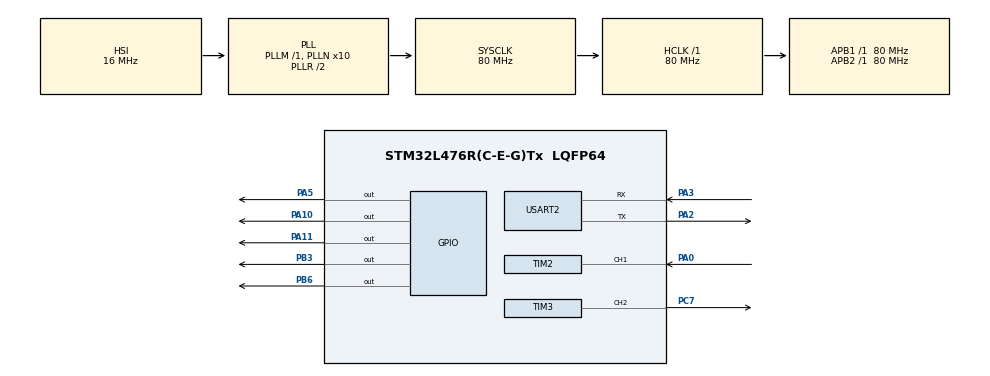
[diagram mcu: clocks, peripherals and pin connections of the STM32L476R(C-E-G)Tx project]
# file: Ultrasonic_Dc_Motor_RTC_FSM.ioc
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Mcu.Family=STM32L4
Mcu.Name=STM32L476R(C-E-G)Tx
Mcu.Package=LQFP64
NVIC.PriorityGroup=NVIC_PRIORITYGROUP_4
NVIC.RTC_WKUP_IRQn=true\:0\:0\:false\:false\:true\:true\:true\:true
NVIC.TIM2_IRQn=true\:0\:0\:false\:false\:true\:true\:true\:true
PA0.GPIO_PuPd=GPIO_PULLUP
PA0.Signal=S_TIM2_CH1
PA10.Signal=GPIO_Output
PA11.Signal=GPIO_Output
PA2.Mode=Asynchronous
PA2.Signal=USART2_TX
PA3.Mode=Asynchronous
PA3.Signal=USART2_RX
PA5.Signal=GPIO_Output
PB3\ (JTDO-TRACESWO).Signal=GPIO_Output
PB6.Signal=GPIO_Output
PC7.Signal=S_TIM3_CH2
PH0-OSC_IN\ (PH0).Mode=HSE-External-Oscillator
PH0-OSC_IN\ (PH0).Signal=RCC_OSC_IN
PH1-OSC_OUT\ (PH1).Mode=HSE-External-Oscillator
PH1-OSC_OUT\ (PH1).Signal=RCC_OSC_OUT
ProjectManager.HeapSize=0x200
ProjectManager.StackSize=0x400
ProjectManager.TargetToolchain=STM32CubeIDE
RCC.ADCFreq_Value=64000000
RCC.AHBFreq_Value=80000000
RCC.APB1Freq_Value=80000000
RCC.APB1TimFreq_Value=80000000
RCC.APB2Freq_Value=80000000
RCC.APB2TimFreq_Value=80000000
RCC.CortexFreq_Value=80000000
RCC.HCLKFreq_Value=80000000
RCC.HSE_VALUE=8000000
RCC.HSI_VALUE=16000000
RCC.MSI_VALUE=4000000
RCC.PLLN=10
RCC.PLLSourceVirtual=RCC_PLLSOURCE_HSI
RCC.PREFETCH_ENABLE=1
RCC.SYSCLKFreq_VALUE=80000000
RCC.SYSCLKSource=RCC_SYSCLKSOURCE_PLLCLK
RCC.USBFreq_Value=64000000
RCC.VCOOutputFreq_Value=160000000
SH.S_TIM2_CH1.0=TIM2_CH1,Input_Capture1_from_TI1
SH.S_TIM3_CH2.0=TIM3_CH2,PWM Generation2 CH2
TIM2.Channel-Input_Capture1_from_TI1=TIM_CHANNEL_1
TIM3.Channel-PWM\ Generation2\ CH2=TIM_CHANNEL_2
USART2.VirtualMode-Asynchronous=VM_ASYNC
VP_RTC_VS_RTC_Activate.Mode=RTC_Enabled
VP_RTC_VS_RTC_WakeUp_intern.Mode=WakeUp
VP_TIM2_VS_ClockSourceINT.Mode=Internal
VP_TIM3_VS_ClockSourceINT.Mode=Internal
VP_TIM6_VS_ClockSourceINT.Mode=Enable_Timer
VP_TIM7_VS_ClockSourceINT.Mode=Enable_Timer
board=NUCLEO-L476RG

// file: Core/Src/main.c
/* USER CODE BEGIN Header */
/**
  ******************************************************************************
  * @file           : main.c
  * @brief          : Main program body
  ******************************************************************************
  * @attention
  *
  * Copyright (c) 2026 STMicroelectronics.
  * All rights reserved.
  *
  * This software is licensed under terms that can be found in the LICENSE file
  * in the root directory of this software component.
  * If no LICENSE file comes with this software, it is provided AS-IS.
  *
  ******************************************************************************
  */
/* USER CODE END Header */
#include "main.h"

/* USER CODE BEGIN Includes */

#include <stdio.h>

/* USER CODE END Includes */

RTC_HandleTypeDef hrtc;

TIM_HandleTypeDef htim2;
TIM_HandleTypeDef htim3;
TIM_HandleTypeDef htim6;
TIM_HandleTypeDef htim7;

UART_HandleTypeDef huart2;

/* USER CODE BEGIN PV */

float distance;

volatile uint8_t firstEdge = 0;

volatile uint8_t measurementReady = 0;

volatile uint8_t distanceReady = 0;

uint32_t IC_Value1;

uint32_t IC_Value2;

uint32_t time;

//static uint32_t timing;

volatile uint8_t rtc_flag = 0;

typedef enum{
	SLEEP,
	MEASURE,
	MOVE,
	STOP
}UC_States;

typedef enum{
	IDLE,
	TRIGGER_LOW,
	TRIGGER_HIGH,
	WAIT_ECHO,
	MEASUREMENT
}US_States;

UC_States current_uc_state = SLEEP;

US_States current_us_state = IDLE;

uint8_t sleep[] = "I have gone to sleep\n\r";

uint8_t wake[] = "I have woken up\n\r";

/* USER CODE END PV */

void SystemClock_Config(void);
static void MX_GPIO_Init(void);
static void MX_USART2_UART_Init(void);
static void MX_RTC_Init(void);
static void MX_TIM2_Init(void);
static void MX_TIM3_Init(void);
static void MX_TIM6_Init(void);
static void MX_TIM7_Init(void);
/* USER CODE BEGIN PFP */

void operational_sequence(void);
void measure_distance(void);

/* USER CODE END PFP */

int main(void)
{

  /* MCU Configuration--------------------------------------------------------*/

  /* Reset of all peripherals, Initializes the Flash interface and the Systick. */
  HAL_Init();

  /* Configure the system clock */
  SystemClock_Config();

  /* Initialize all configured peripherals */
  MX_GPIO_Init();
  MX_USART2_UART_Init();
  MX_RTC_Init();
  MX_TIM2_Init();
  MX_TIM3_Init();
  MX_TIM6_Init();
  MX_TIM7_Init();
  /* USER CODE BEGIN 2 */

  	HAL_TIM_IC_Start_IT(&htim2, TIM_CHANNEL_1);

  	HAL_TIM_PWM_Start(&htim3, TIM_CHANNEL_2);

  	HAL_TIM_Base_Start(&htim6);

  	HAL_TIM_Base_Start(&htim7);

	HAL_RTCEx_DeactivateWakeUpTimer(&hrtc);

	HAL_RTCEx_SetWakeUpTimer_IT(&hrtc, 500, RTC_WAKEUPCLOCK_RTCCLK_DIV16);  //This line sets the sleeping duration

  /* USER CODE END 2 */

  /* Infinite loop */
  while (1)
  {

    /* USER CODE BEGIN 3 */

		  operational_sequence();

  }
  /* USER CODE END 3 */
}

void SystemClock_Config(void)
{
  RCC_OscInitTypeDef RCC_OscInitStruct = {0};
  RCC_ClkInitTypeDef RCC_ClkInitStruct = {0};

  /** Configure the main internal regulator output voltage
  */
  if (HAL_PWREx_ControlVoltageScaling(PWR_REGULATOR_VOLTAGE_SCALE1) != HAL_OK)
  {
    Error_Handler();
  }

  /** Initializes the RCC Oscillators according to the specified parameters
  * in the RCC_OscInitTypeDef structure.
  */
  RCC_OscInitStruct.OscillatorType = RCC_OSCILLATORTYPE_HSI|RCC_OSCILLATORTYPE_LSI;
  RCC_OscInitStruct.HSIState = RCC_HSI_ON;
  RCC_OscInitStruct.HSICalibrationValue = RCC_HSICALIBRATION_DEFAULT;
  RCC_OscInitStruct.LSIState = RCC_LSI_ON;
  RCC_OscInitStruct.PLL.PLLState = RCC_PLL_ON;
  RCC_OscInitStruct.PLL.PLLSource = RCC_PLLSOURCE_HSI;
  RCC_OscInitStruct.PLL.PLLM = 1;
  RCC_OscInitStruct.PLL.PLLN = 10;
  RCC_OscInitStruct.PLL.PLLP = RCC_PLLP_DIV7;
  RCC_OscInitStruct.PLL.PLLQ = RCC_PLLQ_DIV2;
  RCC_OscInitStruct.PLL.PLLR = RCC_PLLR_DIV2;
  if (HAL_RCC_OscConfig(&RCC_OscInitStruct) != HAL_OK)
  {
    Error_Handler();
  }

  /** Initializes the CPU, AHB and APB buses clocks
  */
  RCC_ClkInitStruct.ClockType = RCC_CLOCKTYPE_HCLK|RCC_CLOCKTYPE_SYSCLK
                              |RCC_CLOCKTYPE_PCLK1|RCC_CLOCKTYPE_PCLK2;
  RCC_ClkInitStruct.SYSCLKSource = RCC_SYSCLKSOURCE_PLLCLK;
  RCC_ClkInitStruct.AHBCLKDivider = RCC_SYSCLK_DIV1;
  RCC_ClkInitStruct.APB1CLKDivider = RCC_HCLK_DIV1;
  RCC_ClkInitStruct.APB2CLKDivider = RCC_HCLK_DIV1;

  if (HAL_RCC_ClockConfig(&RCC_ClkInitStruct, FLASH_LATENCY_4) != HAL_OK)
  {
    Error_Handler();
  }
}

static void MX_RTC_Init(void)
{

  /** Initialize RTC Only
  */
  hrtc.Instance = RTC;
  hrtc.Init.HourFormat = RTC_HOURFORMAT_24;
  hrtc.Init.AsynchPrediv = 127;
  hrtc.Init.SynchPrediv = 255;
  hrtc.Init.OutPut = RTC_OUTPUT_DISABLE;
  hrtc.Init.OutPutRemap = RTC_OUTPUT_REMAP_NONE;
  hrtc.Init.OutPutPolarity = RTC_OUTPUT_POLARITY_HIGH;
  hrtc.Init.OutPutType = RTC_OUTPUT_TYPE_OPENDRAIN;
  if (HAL_RTC_Init(&hrtc) != HAL_OK)
  {
    Error_Handler();
  }

}

static void MX_TIM2_Init(void)
{

  TIM_ClockConfigTypeDef sClockSourceConfig = {0};
  TIM_MasterConfigTypeDef sMasterConfig = {0};
  TIM_IC_InitTypeDef sConfigIC = {0};

  htim2.Instance = TIM2;
  htim2.Init.Prescaler = 79;
  htim2.Init.CounterMode = TIM_COUNTERMODE_UP;
  htim2.Init.Period = 4294967295;
  htim2.Init.ClockDivision = TIM_CLOCKDIVISION_DIV1;
  htim2.Init.AutoReloadPreload = TIM_AUTORELOAD_PRELOAD_DISABLE;
  if (HAL_TIM_Base_Init(&htim2) != HAL_OK)
  {
    Error_Handler();
  }
  sClockSourceConfig.ClockSource = TIM_CLOCKSOURCE_INTERNAL;
  if (HAL_TIM_ConfigClockSource(&htim2, &sClockSourceConfig) != HAL_OK)
  {
    Error_Handler();
  }
  if (HAL_TIM_IC_Init(&htim2) != HAL_OK)
  {
    Error_Handler();
  }
  sMasterConfig.MasterOutputTrigger = TIM_TRGO_RESET;
  sMasterConfig.MasterSlaveMode = TIM_MASTERSLAVEMODE_DISABLE;
  if (HAL_TIMEx_MasterConfigSynchronization(&htim2, &sMasterConfig) != HAL_OK)
  {
    Error_Handler();
  }
  sConfigIC.ICPolarity = TIM_INPUTCHANNELPOLARITY_RISING;
  sConfigIC.ICSelection = TIM_ICSELECTION_DIRECTTI;
  sConfigIC.ICPrescaler = TIM_ICPSC_DIV1;
  sConfigIC.ICFilter = 0;
  if (HAL_TIM_IC_ConfigChannel(&htim2, &sConfigIC, TIM_CHANNEL_1) != HAL_OK)
  {
    Error_Handler();
  }

}

static void MX_TIM3_Init(void)
{

  TIM_ClockConfigTypeDef sClockSourceConfig = {0};
  TIM_MasterConfigTypeDef sMasterConfig = {0};
  TIM_OC_InitTypeDef sConfigOC = {0};

  htim3.Instance = TIM3;
  htim3.Init.Prescaler = 79;
  htim3.Init.CounterMode = TIM_COUNTERMODE_UP;
  htim3.Init.Period = 999;
  htim3.Init.ClockDivision = TIM_CLOCKDIVISION_DIV1;
  htim3.Init.AutoReloadPreload = TIM_AUTORELOAD_PRELOAD_DISABLE;
  if (HAL_TIM_Base_Init(&htim3) != HAL_OK)
  {
    Error_Handler();
  }
  sClockSourceConfig.ClockSource = TIM_CLOCKSOURCE_INTERNAL;
  if (HAL_TIM_ConfigClockSource(&htim3, &sClockSourceConfig) != HAL_OK)
  {
    Error_Handler();
  }
  if (HAL_TIM_PWM_Init(&htim3) != HAL_OK)
  {
    Error_Handler();
  }
  sMasterConfig.MasterOutputTrigger = TIM_TRGO_RESET;
  sMasterConfig.MasterSlaveMode = TIM_MASTERSLAVEMODE_DISABLE;
  if (HAL_TIMEx_MasterConfigSynchronization(&htim3, &sMasterConfig) != HAL_OK)
  {
    Error_Handler();
  }
  sConfigOC.OCMode = TIM_OCMODE_PWM1;
  sConfigOC.Pulse = 0;
  sConfigOC.OCPolarity = TIM_OCPOLARITY_HIGH;
  sConfigOC.OCFastMode = TIM_OCFAST_DISABLE;
  if (HAL_TIM_PWM_ConfigChannel(&htim3, &sConfigOC, TIM_CHANNEL_2) != HAL_OK)
  {
    Error_Handler();
  }
  HAL_TIM_MspPostInit(&htim3);

}

static void MX_TIM6_Init(void)
{

  TIM_MasterConfigTypeDef sMasterConfig = {0};

  htim6.Instance = TIM6;
  htim6.Init.Prescaler = 79;
  htim6.Init.CounterMode = TIM_COUNTERMODE_UP;
  htim6.Init.Period = 65535;
  htim6.Init.AutoReloadPreload = TIM_AUTORELOAD_PRELOAD_DISABLE;
  if (HAL_TIM_Base_Init(&htim6) != HAL_OK)
  {
    Error_Handler();
  }
  sMasterConfig.MasterOutputTrigger = TIM_TRGO_RESET;
  sMasterConfig.MasterSlaveMode = TIM_MASTERSLAVEMODE_DISABLE;
  if (HAL_TIMEx_MasterConfigSynchronization(&htim6, &sMasterConfig) != HAL_OK)
  {
    Error_Handler();
  }

}

static void MX_TIM7_Init(void)
{

  TIM_MasterConfigTypeDef sMasterConfig = {0};

  htim7.Instance = TIM7;
  htim7.Init.Prescaler = 79;
  htim7.Init.CounterMode = TIM_COUNTERMODE_UP;
  htim7.Init.Period = 65535;
  htim7.Init.AutoReloadPreload = TIM_AUTORELOAD_PRELOAD_DISABLE;
  if (HAL_TIM_Base_Init(&htim7) != HAL_OK)
  {
    Error_Handler();
  }
  sMasterConfig.MasterOutputTrigger = TIM_TRGO_RESET;
  sMasterConfig.MasterSlaveMode = TIM_MASTERSLAVEMODE_DISABLE;
  if (HAL_TIMEx_MasterConfigSynchronization(&htim7, &sMasterConfig) != HAL_OK)
  {
    Error_Handler();
  }

}

static void MX_USART2_UART_Init(void)
{

  huart2.Instance = USART2;
  huart2.Init.BaudRate = 115200;
  huart2.Init.WordLength = UART_WORDLENGTH_8B;
  huart2.Init.StopBits = UART_STOPBITS_1;
  huart2.Init.Parity = UART_PARITY_NONE;
  huart2.Init.Mode = UART_MODE_TX_RX;
  huart2.Init.HwFlowCtl = UART_HWCONTROL_NONE;
  huart2.Init.OverSampling = UART_OVERSAMPLING_16;
  huart2.Init.OneBitSampling = UART_ONE_BIT_SAMPLE_DISABLE;
  huart2.AdvancedInit.AdvFeatureInit = UART_ADVFEATURE_NO_INIT;
  if (HAL_UART_Init(&huart2) != HAL_OK)
  {
    Error_Handler();
  }

}

static void MX_GPIO_Init(void)
{
  GPIO_InitTypeDef GPIO_InitStruct = {0};

  /* GPIO Ports Clock Enable */
  __HAL_RCC_GPIOH_CLK_ENABLE();
  __HAL_RCC_GPIOA_CLK_ENABLE();
  __HAL_RCC_GPIOC_CLK_ENABLE();
  __HAL_RCC_GPIOB_CLK_ENABLE();

  /*Configure GPIO pin Output Level */
  HAL_GPIO_WritePin(GPIOA, GPIO_PIN_5|GPIO_PIN_10|GPIO_PIN_11, GPIO_PIN_RESET);

  /*Configure GPIO pin Output Level */
  HAL_GPIO_WritePin(GPIOB, GPIO_PIN_3|GPIO_PIN_6, GPIO_PIN_RESET);

  /*Configure GPIO pins : PA5 PA10 PA11 */
  GPIO_InitStruct.Pin = GPIO_PIN_5|GPIO_PIN_10|GPIO_PIN_11;
  GPIO_InitStruct.Mode = GPIO_MODE_OUTPUT_PP;
  GPIO_InitStruct.Pull = GPIO_NOPULL;
  GPIO_InitStruct.Speed = GPIO_SPEED_FREQ_LOW;
  HAL_GPIO_Init(GPIOA, &GPIO_InitStruct);

  /*Configure GPIO pins : PB3 PB6 */
  GPIO_InitStruct.Pin = GPIO_PIN_3|GPIO_PIN_6;
  GPIO_InitStruct.Mode = GPIO_MODE_OUTPUT_PP;
  GPIO_InitStruct.Pull = GPIO_NOPULL;
  GPIO_InitStruct.Speed = GPIO_SPEED_FREQ_LOW;
  HAL_GPIO_Init(GPIOB, &GPIO_InitStruct);

}

/* USER CODE BEGIN 4 */

void operational_sequence(void){
	switch(current_uc_state){

	case SLEEP:

			HAL_UART_Transmit(&huart2, sleep, sizeof(sleep), 10);
			HAL_SuspendTick(); // This prevents the systick interrupts from disturbing our sleep

			HAL_PWR_EnterSLEEPMode(PWR_MAINREGULATOR_ON, PWR_SLEEPENTRY_WFI); // This is where the MCU actually sleeps - Sleeping lets some of the peripherals to continue running

			// We say that the MCU wakes up here

			SystemClock_Config();

			HAL_ResumeTick();

			//This is restarting the timers

			firstEdge = 0;

		  	HAL_TIM_IC_Start_IT(&htim2, TIM_CHANNEL_1);

		  	HAL_TIM_PWM_Start(&htim3, TIM_CHANNEL_2);

		  	HAL_TIM_Base_Start(&htim6);

		  	HAL_TIM_Base_Start(&htim7);

		  	//

			if(rtc_flag){
				rtc_flag = 0;
				current_uc_state = MEASURE;
				HAL_UART_Transmit(&huart2, wake, sizeof(wake), 10);
			}
//			current_uc_state = MEASURE;
		break;

	case MEASURE:

			measure_distance();  // this function computes the distance wherever it is

			if(distanceReady){

				distanceReady = 0;

				char msg[64];

				int len = snprintf(msg, sizeof(msg), "Distance : %.2lf\n\r", distance);

				HAL_UART_Transmit(&huart2, (uint8_t *)msg, len, HAL_MAX_DELAY);

				if(distance < 50){
			current_uc_state = STOP;
			}

			else{
				current_uc_state = MOVE;
			}
			}

		break;

	case MOVE:
			HAL_GPIO_WritePin(GPIOA, GPIO_PIN_10, GPIO_PIN_SET);
			HAL_GPIO_WritePin(GPIOA, GPIO_PIN_11, GPIO_PIN_RESET);
			__HAL_TIM_SET_COMPARE(&htim3, TIM_CHANNEL_2, 999);

			current_uc_state = SLEEP;

		break;

	case STOP:
			HAL_GPIO_WritePin(GPIOA, GPIO_PIN_10, GPIO_PIN_SET);
			HAL_GPIO_WritePin(GPIOA, GPIO_PIN_11, GPIO_PIN_RESET);
			__HAL_TIM_SET_COMPARE(&htim3, TIM_CHANNEL_2, 0);

			current_uc_state = SLEEP;

		break;
	}
}

void measure_distance(void){
	static uint32_t timer = 0;

	switch(current_us_state){

	case IDLE:

			__HAL_TIM_SET_COUNTER(&htim6, 0);
			HAL_GPIO_WritePin(GPIOB, GPIO_PIN_3, GPIO_PIN_RESET);
			current_us_state = TRIGGER_LOW;
			timer = __HAL_TIM_GET_COUNTER(&htim6);

		break;

	case TRIGGER_LOW:

			if(__HAL_TIM_GET_COUNTER(&htim6) - timer >= 2){
				HAL_GPIO_WritePin(GPIOB, GPIO_PIN_3, GPIO_PIN_SET);
				current_us_state = TRIGGER_HIGH;
				timer = __HAL_TIM_GET_COUNTER(&htim6);
			}

		break;

	case TRIGGER_HIGH:
			if(__HAL_TIM_GET_COUNTER(&htim6) - timer >= 10){
				HAL_GPIO_WritePin(GPIOB, GPIO_PIN_3, GPIO_PIN_RESET);
				timer = 0;
				current_us_state = WAIT_ECHO;
			}

		break; // Here according to the design that I want to make, moving to the next state should be controlled by the input capture callback

	case WAIT_ECHO:

		if(measurementReady == 1){

			measurementReady = 0;
			current_us_state = MEASUREMENT;

								}
		break;

	case MEASUREMENT:
			distance = time * 0.034f / 2.0f;

			distanceReady = 1;

			current_us_state = IDLE;

		break;
	}
}

void HAL_TIM_IC_CaptureCallback(TIM_HandleTypeDef *htim){
  /* Prevent unused argument(s) compilation warning */
  UNUSED(htim);

  /* NOTE : This function should not be modified, when the callback is needed,
            the HAL_TIM_IC_CaptureCallback could be implemented in the user file
   */
  if(htim->Instance == TIM2 && htim->Channel == HAL_TIM_ACTIVE_CHANNEL_1){

	  HAL_GPIO_TogglePin(GPIOB, GPIO_PIN_6);

	  if(firstEdge == 0){
		  IC_Value1 = HAL_TIM_ReadCapturedValue(&htim2, TIM_CHANNEL_1);
		  firstEdge = 1;
		  __HAL_TIM_SET_CAPTUREPOLARITY(&htim2, TIM_CHANNEL_1, TIM_INPUTCHANNELPOLARITY_FALLING);
	  }

	  else{
		  IC_Value2 = HAL_TIM_ReadCapturedValue(&htim2, TIM_CHANNEL_1);

		  if(IC_Value2 > IC_Value1){

			  time = IC_Value2 - IC_Value1;

		  }

		  else {
			  time = (0xFFFFFFFF - IC_Value1) + IC_Value2;
		  }
		  measurementReady = 1;
		  firstEdge = 0;
		  __HAL_TIM_SET_CAPTUREPOLARITY(&htim2, TIM_CHANNEL_1, TIM_INPUTCHANNELPOLARITY_RISING);

//		  Please never set states inside of interrupts
	  }
  }
}

void HAL_RTCEx_WakeUpTimerEventCallback(RTC_HandleTypeDef *hrtc)
{
   rtc_flag = 1;

}

/* USER CODE END 4 */

void Error_Handler(void)
{
  __disable_irq();
  while (1)
  {
  }
}
